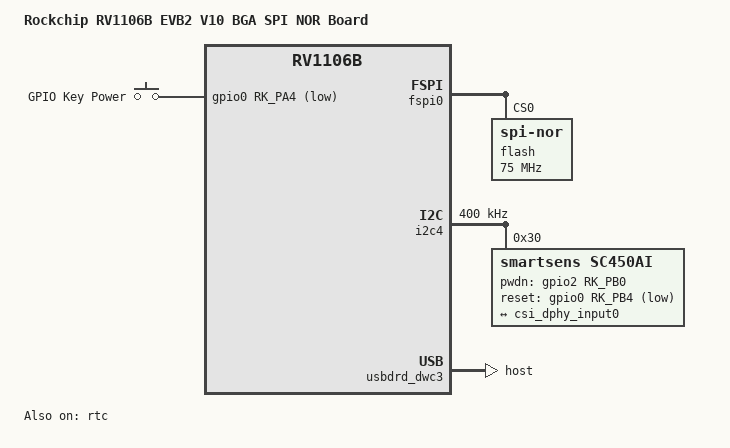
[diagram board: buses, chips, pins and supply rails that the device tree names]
// SPDX-License-Identifier: (GPL-2.0+ OR MIT)
/*
 * Copyright (c) 2026 Rockchip Electronics Co., Ltd.
 *
 */

/dts-v1/;

#include "rv1106b.dtsi"
#include "rv1106b-evb2-v10.dtsi"
#include "rv1106b-thunder-boot-cam.dtsi"
#include "rv1106b-thunder-boot-spi-nor.dtsi"

/ {
	model = "Rockchip RV1106B EVB2 V10 BGA SPI NOR Board";
	compatible = "rockchip,rv1106b-evb2-v10-bga-aov-spi-nor-tb", "rockchip,rv1106b";

	chosen {
		bootargs = "loglevel=0 earlycon=uart8250,mmio32,0x20540000 console=ttyFIQ0 root=/dev/rd0 rootfstype=erofs rootflags=dax snd_soc_core.prealloc_buffer_size_kbytes=16 coherent_pool=32K";
	};

	gpio-keys {
		compatible = "gpio-keys";
		autorepeat;
		pinctrl-names = "default";
		pinctrl-0 = <&pwr_key>;
		power-key {
			gpios = <&gpio0 RK_PA4 GPIO_ACTIVE_LOW>;
			linux,code = <KEY_POWER>;
			label = "GPIO Key Power";
			debounce-interval = <100>;
			wakeup-source;
		};
	};
};

&acodec {
	pa-ctl-gpios = <&gpio0 RK_PB5 GPIO_ACTIVE_HIGH>;
};

&fspi0 {
	status = "okay";

	flash@0 {
		compatible = "jedec,spi-nor";
		reg = <0>;
		spi-max-frequency = <75000000>;
		spi-rx-bus-width = <4>;
		spi-tx-bus-width = <1>;
	};
};

&i2c4 {
	clock-frequency = <400000>;
	pinctrl-names = "default";
	pinctrl-0 = <&i2c4m1_xfer_pins>;
	rockchip,amp-shared;
	status = "okay";

	sc450ai: sc450ai@30 {
		compatible = "smartsens,sc450ai";
		reg = <0x30>;
		clocks = <&cru CLK_MIPI0_OUT2IO>;
		clock-names = "xvclk";
		pwdn-gpios = <&gpio2 RK_PB0 GPIO_ACTIVE_HIGH>;
		reset-gpios = <&gpio0 RK_PB4 GPIO_ACTIVE_LOW>;
		pinctrl-names = "default";
		pinctrl-0 = <&cam_clk0_pins>;
		rockchip,camera-module-index = <0>;
		rockchip,camera-module-facing = "back";
		rockchip,camera-module-name = "default";
		rockchip,camera-module-lens-name = "default";
		rockchip,camera-module-stb = <1>;
		port {
			cam0_out: endpoint {
				remote-endpoint = <&csi_dphy_input0>;
				data-lanes = <1 2 3 4>;
			};
		};
	};
};

&pinctrl {
	buttons {
		pwr_key: pwr-key {
			rockchip,pins = <0 RK_PA4 RK_FUNC_GPIO &pcfg_pull_up>;
		};
	};
	sdmmc {
		/omit-if-no-ref/
		sdmmc_pwren: sdmmc-pwren {
			rockchip,pins = <0 RK_PA0 RK_FUNC_GPIO &pcfg_pull_none>;
		};
	};
};

&rockchip_suspend {
	status = "okay";

	rockchip,sleep-io-config = <
		/* pmic_sleep */
		(0
		| RKPM_IO_CFG_IOMUX_GPIO
		| RKPM_IO_CFG_GPIO_DIR_INPUT
		| RKPM_IO_CFG_PULL_DOWN
		| RKPM_IO_CFG_ID(0)
		)
		(0
		| RKPM_IO_CFG_IOMUX_GPIO
		| RKPM_IO_CFG_GPIO_DIR_INPUT
		| RKPM_IO_CFG_PULL_NONE
		| RKPM_IO_CFG_ID(1)
		)
		(0
		| RKPM_IO_CFG_IOMUX_GPIO
		| RKPM_IO_CFG_GPIO_DIR_INPUT
		| RKPM_IO_CFG_PULL_NONE
		| RKPM_IO_CFG_ID(2)
		)
		(0
		| RKPM_IO_CFG_IOMUX(1)
		| RKPM_IO_CFG_PULL_NONE
		| RKPM_IO_CFG_ID(3)
		)
		(0
		| RKPM_IO_CFG_IOMUX_GPIO
		| RKPM_IO_CFG_GPIO_DIR_INPUT
		| RKPM_IO_CFG_PULL_UP
		| RKPM_IO_CFG_ID(4)
		)
		(0
		| RKPM_IO_CFG_IOMUX_GPIO
		| RKPM_IO_CFG_GPIO_DIR_INPUT
		| RKPM_IO_CFG_PULL_DOWN
		| RKPM_IO_CFG_ID(5)
		)
		(0
		| RKPM_IO_CFG_IOMUX_GPIO
		| RKPM_IO_CFG_GPIO_DIR_INPUT
		| RKPM_IO_CFG_PULL_DOWN
		| RKPM_IO_CFG_ID(6)
		)
	>;
};

&rtc {
	rockchip,rtc-suspend-bypass;
	status = "okay";
};

&rkisp_thunderboot {
	/*
	 * vicap, capture raw10, ceil(w*10/8/256)*256*h *2(buf num) + sizeof(rkisp_thunderboot_resmem_head)
	 * In RV1106B the size of rkisp_thunderboot_resmem_head is 0x9000, and it is 0x6000 in RV1106
	 * e.g. 2688x1520: ceil(2688*10/8/256)=14, 14*256*1520*2=0xa64000, +0x9000=0xa6d000
	 */
	reg = <0x00860000 0xa6d000>;
};

&ramdisk_r {
	reg = <0x12cd000 (16 * 0x00100000)>;
};

&ramdisk_c {
	reg = <0x22cd000 (8 * 0x00100000)>;
};

&usbdrd_dwc3 {
	dr_mode = "host";
};

&vcc3v3_sd {
	gpio = <&gpio0 RK_PA0 GPIO_ACTIVE_LOW>;
};

